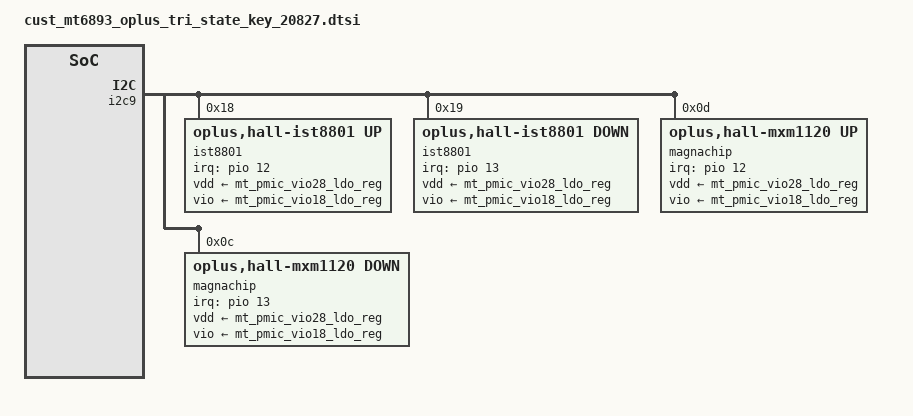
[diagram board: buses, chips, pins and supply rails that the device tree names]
&i2c9 {
	status = "ok";
	qcom,clk-freq-out = <400000>;
	ist8801@18 {
		compatible = "oplus,hall-ist8801,up";
		reg = <0x18>;
		dhall,id = <1>;
		vdd-supply = <&mt_pmic_vio28_ldo_reg>;
		vio-supply = <&mt_pmic_vio18_ldo_reg>;
		//interrupt-parent = <&tlmm>;
		interrups = <12 0x02>;
		dhall,irq-gpio = <&pio 12 0x2008>;
		pinctrl-names = "ist8801_hall_up_active";
		pinctrl-0 = <&ist8801_hall_up_active>;
	};
	ist8801@19 {
		compatible = "oplus,hall-ist8801,down";
		reg = <0x19>;
		dhall,id = <2>;
		vdd-supply = <&mt_pmic_vio28_ldo_reg>;
		vio-supply = <&mt_pmic_vio18_ldo_reg>;
		//interrupt-parent = <&tlmm>;
		interrups = <13 0x02>;
		dhall,irq-gpio = <&pio 13 0x2008>;
		pinctrl-names = "ist8801_hall_down_active";
		pinctrl-0 = <&ist8801_hall_down_active>;
	};
};

&i2c9 {
	status = "ok";
	qcom,clk-freq-out = <400000>;
	magnachip@0x0D {
		compatible = "oplus,hall-mxm1120,up";
		reg = <0x0D>;
		dhall,id = <1>;
		vdd-supply = <&mt_pmic_vio28_ldo_reg>;
		vio-supply = <&mt_pmic_vio18_ldo_reg>;
		//interrupt-parent = <&tlmm>;
		interrups = <12 0x02>;
		dhall,irq-gpio = <&pio 12 0x2008>;
		pinctrl-names = "uphall_tri_state_key_active";
		pinctrl-0 = <&uphall_tri_state_key_active>;
	};
	magnachip@0C {
		compatible = "oplus,hall-mxm1120,down";
		reg = <0x0C>;
		dhall,id = <2>;
		vdd-supply = <&mt_pmic_vio28_ldo_reg>;
		vio-supply = <&mt_pmic_vio18_ldo_reg>;
		//interrupt-parent = <&tlmm>;
		interrups = <13 0x02>;
		dhall,irq-gpio = <&pio 13 0x2008>;
		pinctrl-names = "downhall_tri_state_key_active";
		pinctrl-0 = <&downhall_tri_state_key_active>;
	};
};

&pio {
	ist8801_hall_up_active: ist8801_hall_up_active {
		pins_cmd_dat {
			pinmux = <PINMUX_GPIO12__FUNC_GPIO12>;
			input-enable;
			bias-pull-up;
		};
	};
	ist8801_hall_down_active: ist8801_hall_down_active {
		pins_cmd_dat {
			pinmux = <PINMUX_GPIO13__FUNC_GPIO13>;
			input-enable;
			bias-pull-up;
		};
	};
};

&pio {
	uphall_tri_state_key_active: uphall_tri_state_key_active {
		pins_cmd_dat {
			pinmux = <PINMUX_GPIO12__FUNC_GPIO12>;
			input-enable;
			bias-pull-up;
		};
	};
	downhall_tri_state_key_active: downhall_tri_state_key_active {
		pins_cmd_dat {
			pinmux = <PINMUX_GPIO13__FUNC_GPIO13>;
			input-enable;
			bias-pull-up;
		};
	};
};
